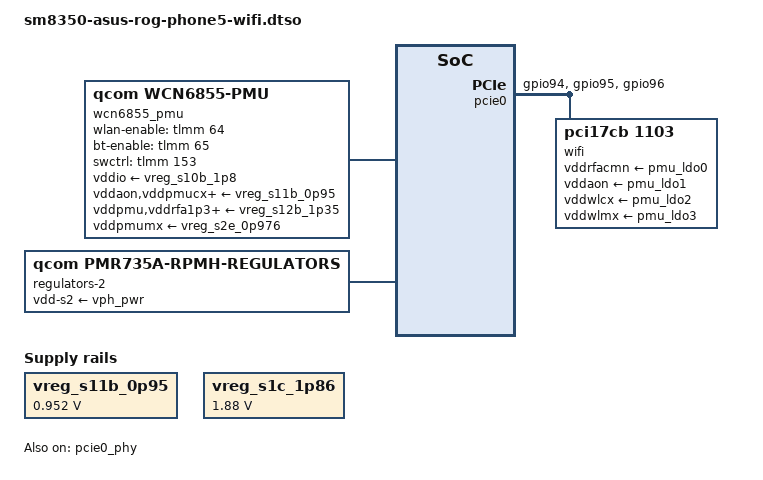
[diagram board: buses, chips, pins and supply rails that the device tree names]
// SPDX-License-Identifier: BSD-3-Clause
/dts-v1/;
/plugin/;

/*
 * Opt-in WCN6855 board description for the accepted network-root v8 DTB.
 *
 * GPIOs, host rails, and voltage constraints come from the ASUS runtime DT
 * and vendor source. The PMU and PCI endpoint topology follows the Linux
 * qcom,wcn6855-pmu and pci17cb,1103 bindings. This overlay remains an offline
 * candidate until a separately authorized RAM-only boot validates it.
 */
&{/} {
	wcn6855_pmu: wcn6855-pmu {
		compatible = "qcom,wcn6855-pmu";

		pinctrl-names = "default";
		pinctrl-0 = <&wlan_en_default>, <&bt_en_default>,
			    <&wlan_antenna_default>;

		wlan-enable-gpios = <&tlmm 64 0>;
		bt-enable-gpios = <&tlmm 65 0>;
		swctrl-gpios = <&tlmm 153 0>;

		vddio-supply = <&vreg_s10b_1p8>;
		vddaon-supply = <&vreg_s11b_0p95>;
		vddpmu-supply = <&vreg_s12b_1p35>;
		vddpmumx-supply = <&vreg_s2e_0p976>;
		vddpmucx-supply = <&vreg_s11b_0p95>;
		vddrfa0p95-supply = <&vreg_s11b_0p95>;
		vddrfa1p3-supply = <&vreg_s12b_1p35>;
		vddrfa1p9-supply = <&vreg_s1c_1p86>;
		vddpcie1p3-supply = <&vreg_s12b_1p35>;
		vddpcie1p9-supply = <&vreg_s1c_1p86>;

		regulators {
			pmu_ldo0: ldo0 {
				regulator-name = "vreg_pmu_rfa_cmn_0p8";
			};

			pmu_ldo1: ldo1 {
				regulator-name = "vreg_pmu_aon_0p8";
			};

			pmu_ldo2: ldo2 {
				regulator-name = "vreg_pmu_wlcx_0p8";
			};

			pmu_ldo3: ldo3 {
				regulator-name = "vreg_pmu_wlmx_0p8";
			};

			pmu_ldo4: ldo4 {
				regulator-name = "vreg_pmu_btcmx_0p8";
			};

			pmu_ldo5: ldo5 {
				regulator-name = "vreg_pmu_pcie_1p8";
			};

			pmu_ldo6: ldo6 {
				regulator-name = "vreg_pmu_pcie_0p9";
			};

			pmu_ldo7: ldo7 {
				regulator-name = "vreg_pmu_rfa_0p8";
			};

			pmu_ldo8: ldo8 {
				regulator-name = "vreg_pmu_rfa_1p2";
			};

			pmu_ldo9: ldo9 {
				regulator-name = "vreg_pmu_rfa_1p7";
			};
		};
	};
};

&apps_rsc {
	regulators-0 {
		vdd-s10-supply = <&vph_pwr>;
		vdd-s12-supply = <&vph_pwr>;

		vreg_s10b_1p8: smps10 {
			regulator-name = "vreg_s10b_1p8";
			regulator-min-microvolt = <1800000>;
			regulator-max-microvolt = <1800000>;
		};

		vreg_s12b_1p35: smps12 {
			regulator-name = "vreg_s12b_1p35";
			regulator-min-microvolt = <1350000>;
			regulator-max-microvolt = <1350000>;
		};
	};

	regulators-2 {
		compatible = "qcom,pmr735a-rpmh-regulators";
		qcom,pmic-id = "e";

		vdd-s2-supply = <&vph_pwr>;

		vreg_s2e_0p976: smps2 {
			regulator-name = "vreg_s2e_0p976";
			regulator-min-microvolt = <976000>;
			regulator-max-microvolt = <976000>;
		};
	};
};

&vreg_s11b_0p95 {
	regulator-min-microvolt = <952000>;
	regulator-max-microvolt = <952000>;
};

&vreg_s1c_1p86 {
	regulator-min-microvolt = <1880000>;
	regulator-max-microvolt = <1880000>;
};

&tlmm {
	wlan_en_default: wlan-en-state {
		pins = "gpio64";
		function = "gpio";
		drive-strength = <16>;
		output-low;
		bias-pull-down;
	};

	bt_en_default: bt-en-state {
		pins = "gpio65";
		function = "gpio";
		drive-strength = <16>;
		output-low;
		bias-pull-down;
	};

	wlan_antenna_default: wlan-antenna-state {
		pins = "gpio141", "gpio142", "gpio144";
		function = "gpio";
		drive-strength = <2>;
		output-high;
		bias-pull-up;
	};

	pcie0_default_state: pcie0-default-state {
		perst-pins {
			pins = "gpio94";
			function = "gpio";
			drive-strength = <2>;
			bias-pull-down;
		};

		clkreq-pins {
			pins = "gpio95";
			function = "pcie0_clkreqn";
			drive-strength = <2>;
			bias-pull-up;
		};

		wake-pins {
			pins = "gpio96";
			function = "gpio";
			drive-strength = <2>;
			bias-pull-up;
		};
	};
};

&pcie0 {
	pinctrl-names = "default";
	pinctrl-0 = <&pcie0_default_state>;

	perst-gpios = <&tlmm 94 1>;
	wake-gpios = <&tlmm 96 0>;

	status = "okay";

	pcie@0 {
		wifi@0 {
			compatible = "pci17cb,1103";
			reg = <0x10000 0x0 0x0 0x0 0x0>;

			vddrfacmn-supply = <&pmu_ldo0>;
			vddaon-supply = <&pmu_ldo1>;
			vddwlcx-supply = <&pmu_ldo2>;
			vddwlmx-supply = <&pmu_ldo3>;
			vddpcie1p8-supply = <&pmu_ldo5>;
			vddpcie0p9-supply = <&pmu_ldo6>;
			vddrfa0p8-supply = <&pmu_ldo7>;
			vddrfa1p2-supply = <&pmu_ldo8>;
			vddrfa1p8-supply = <&pmu_ldo9>;
		};
	};
};

&pcie0_phy {
	vdda-phy-supply = <&vreg_l5b_0p88>;
	vdda-pll-supply = <&vreg_l6b_1p2>;

	status = "okay";
};
